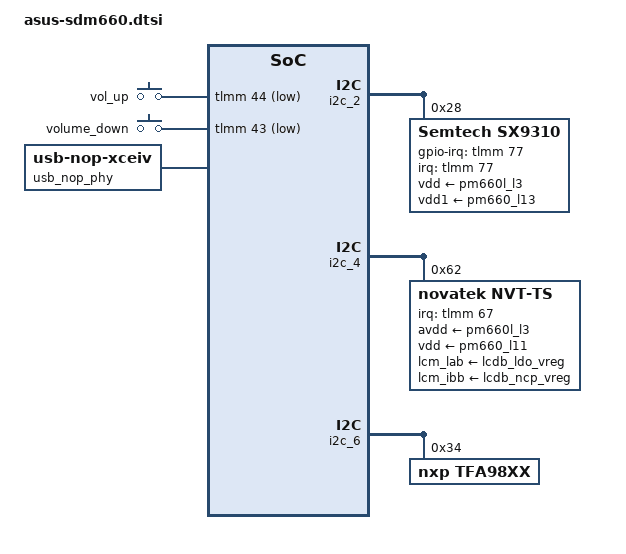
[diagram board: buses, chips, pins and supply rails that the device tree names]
// SPDX-License-Identifier: GPL-2.0
// Copyright (C) 2021 Atom-X-Devs < https://www.github.com/Atom-X-Devs >

// asus sdm660.dtsi specific diff
&firmware {
	android {
		fstab {
			vendor {
				fsmgr_flags = "wait";
				status = "ok";
			};

			system {
				compatible = "android,system";
				dev = "/dev/block/platform/soc/c0c4000.sdhci/by-name/system";
				type = "ext4";
				mnt_flags = "ro,barrier=1,discard";
				fsmgr_flags = "wait";
				status = "ok";
			};
		};
	};
};

&wdog {
	qcom,bark-time = <20000>;

};

&soc {
	gpio_keys {
		/delete-node/ camera_focus;
		/delete-node/ camera_snapshot;

		vol_up {
			gpios = <&tlmm 44 0x1>;
		};

		vol_down {
			label = "volume_down";
			gpios = <&tlmm 43 0x1>;
			linux,input-type = <1>;
			linux,code = <114>;
			gpio-key,wakeup;
			debounce-interval = <15>;
		};
	};

	usb_nop_phy: usb_nop_phy {
		compatible = "usb-nop-xceiv";
	};
};

// asus sdm660-common.dtsi specific diff
&usb3 {
	extcon = <&pm660_charger>;
	vbus_dwc3-supply = <&smb2_vbus>;

	dwc3@a800000 {
		usb-phy = <&qusb_phy0>, <&usb_nop_phy>;
		maximum-speed = "high-speed";
	};
};

&qrd_batterydata {
	/delete-node/ qcom,qrd_msm8998_skuk_3000mah;
	#include "fg-gen3-batterydata-3292665_Huaqin_QL1650cos_5000mAh.dtsi"
};

&sdhc_1 {
	qcom,vdd-always-on;
};

&qusb_phy0 {
	qcom,tune2-efuse-correction = <(-4)>;
	qcom,qusb-phy-init-seq = <0xf8 0x80
				0x83 0x84
				0x81 0x88
				0xc7 0x8c
				0x30 0x08
				0x79 0x0c
				0x21 0x10
				0x14 0x9c
				0x9f 0x1c
				0x00 0x18>;
};

&ssphy {
	status = "disabled";
};

&qusb_phy1 {
	qcom,qusb-phy-init-seq = <0xF8 0x80
				0x83 0x84
				0x81 0x88
				0xC7 0x8C
				0x30 0x08
				0x79 0x0C
				0x21 0x10
				0x14 0x9C
				0x9F 0x1C
				0x00 0x18>;
};

&i2c_2 {
	status = "okay";

	semtech@28 {
		compatible = "Semtech,sx9310";
		reg = <0x28>;
		vdd-supply = <&pm660l_l3>;
		vdd1-supply = <&pm660_l13>;
		interrupt-parent = <&tlmm>;
		Semtech,gpio-irq = <&tlmm 77 0x2008>;
		interrupts = <77 0x2>;
		pinctrl-names = "sarsensor_active", "sarsensor_suspend";
		pinctrl-0 = <&sarsensor_int_active>;
		pinctrl-1 = <&sarsensor_int_suspend>;
	};
};

&i2c_4 {
	status = "okay";

	novatek@62 {
		compatible = "novatek,NVT-ts";
		reg = <0x62>;
		avdd-supply = <&pm660l_l3>;    //VDD
		vdd-supply = <&pm660_l11>;    //VDDIO
		lcm_lab-supply = <&lcdb_ldo_vreg>;
		lcm_ibb-supply = <&lcdb_ncp_vreg>;
		novatek,irq-gpio = <&tlmm 67 0>;
		status = "ok";
	};
};

&i2c_6 {
	status = "okay";
	tfa98xx@34 {
		compatible = "nxp,tfa98xx";
		reg = <0x34>;
	};
};
